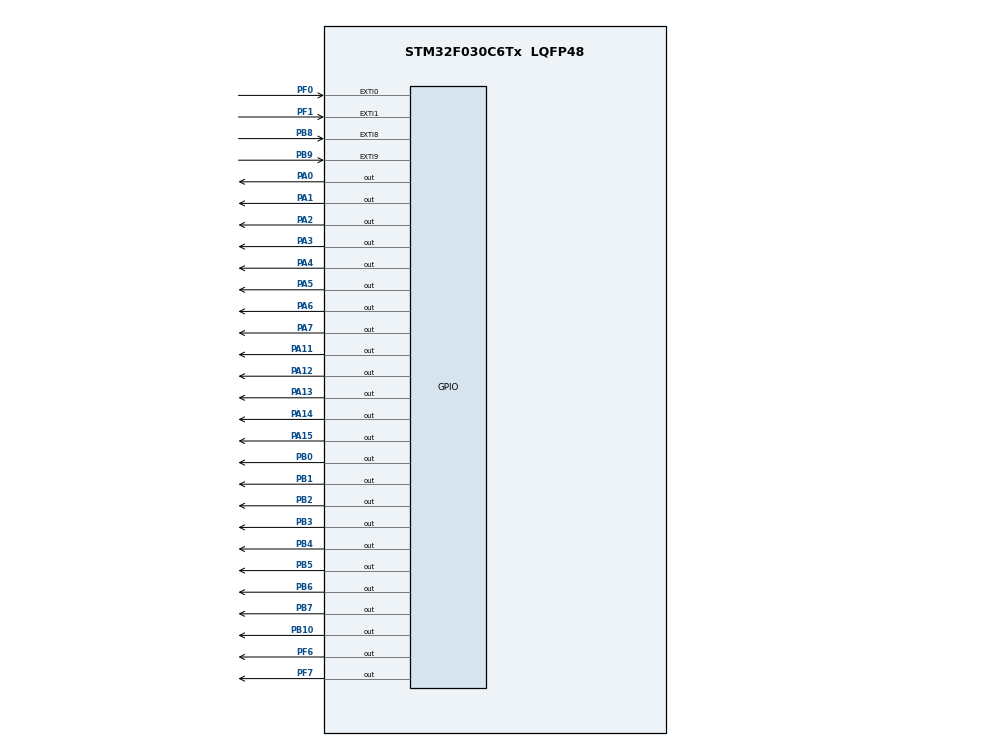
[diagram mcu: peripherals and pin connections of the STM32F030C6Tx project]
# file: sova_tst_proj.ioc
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Mcu.Family=STM32F0
Mcu.Name=STM32F030C6Tx
Mcu.Package=LQFP48
NVIC.EXTI0_1_IRQn=true\:0\:0\:false\:false\:true
NVIC.EXTI4_15_IRQn=true\:0\:0\:false\:false\:true
NVIC.TIM16_IRQn=true\:0\:0\:false\:false\:true
PA0.GPIO_ModeDefaultOutputPP=GPIO_MODE_OUTPUT_OD
PA0.GPIO_Speed=GPIO_SPEED_FREQ_LOW
PA0.PinState=GPIO_PIN_SET
PA0.Signal=GPIO_Output
PA1.GPIO_ModeDefaultOutputPP=GPIO_MODE_OUTPUT_OD
PA1.GPIO_Speed=GPIO_SPEED_FREQ_LOW
PA1.PinState=GPIO_PIN_SET
PA1.Signal=GPIO_Output
PA11.GPIO_ModeDefaultOutputPP=GPIO_MODE_OUTPUT_OD
PA11.GPIO_Speed=GPIO_SPEED_FREQ_LOW
PA11.PinState=GPIO_PIN_SET
PA11.Signal=GPIO_Output
PA12.GPIO_ModeDefaultOutputPP=GPIO_MODE_OUTPUT_OD
PA12.GPIO_Speed=GPIO_SPEED_FREQ_LOW
PA12.PinState=GPIO_PIN_SET
PA12.Signal=GPIO_Output
PA13.GPIO_ModeDefaultOutputPP=GPIO_MODE_OUTPUT_OD
PA13.GPIO_Speed=GPIO_SPEED_FREQ_LOW
PA13.PinState=GPIO_PIN_SET
PA13.Signal=GPIO_Output
PA14.GPIO_ModeDefaultOutputPP=GPIO_MODE_OUTPUT_OD
PA14.GPIO_Speed=GPIO_SPEED_FREQ_LOW
PA14.PinState=GPIO_PIN_SET
PA14.Signal=GPIO_Output
PA15.GPIO_ModeDefaultOutputPP=GPIO_MODE_OUTPUT_OD
PA15.GPIO_Speed=GPIO_SPEED_FREQ_LOW
PA15.PinState=GPIO_PIN_SET
PA15.Signal=GPIO_Output
PA2.GPIO_ModeDefaultOutputPP=GPIO_MODE_OUTPUT_OD
PA2.GPIO_Speed=GPIO_SPEED_FREQ_LOW
PA2.PinState=GPIO_PIN_SET
PA2.Signal=GPIO_Output
PA3.GPIO_ModeDefaultOutputPP=GPIO_MODE_OUTPUT_OD
PA3.GPIO_Speed=GPIO_SPEED_FREQ_LOW
PA3.PinState=GPIO_PIN_SET
PA3.Signal=GPIO_Output
PA4.GPIO_ModeDefaultOutputPP=GPIO_MODE_OUTPUT_OD
PA4.GPIO_Speed=GPIO_SPEED_FREQ_LOW
PA4.PinState=GPIO_PIN_SET
PA4.Signal=GPIO_Output
PA5.GPIO_ModeDefaultOutputPP=GPIO_MODE_OUTPUT_OD
PA5.GPIO_Speed=GPIO_SPEED_FREQ_LOW
PA5.PinState=GPIO_PIN_SET
PA5.Signal=GPIO_Output
PA6.GPIO_ModeDefaultOutputPP=GPIO_MODE_OUTPUT_OD
PA6.GPIO_Speed=GPIO_SPEED_FREQ_LOW
PA6.PinState=GPIO_PIN_SET
PA6.Signal=GPIO_Output
PA7.GPIO_ModeDefaultOutputPP=GPIO_MODE_OUTPUT_OD
PA7.GPIO_Speed=GPIO_SPEED_FREQ_LOW
PA7.PinState=GPIO_PIN_SET
PA7.Signal=GPIO_Output
PB0.GPIO_ModeDefaultOutputPP=GPIO_MODE_OUTPUT_OD
PB0.GPIO_Speed=GPIO_SPEED_FREQ_LOW
PB0.PinState=GPIO_PIN_SET
PB0.Signal=GPIO_Output
PB1.GPIO_ModeDefaultOutputPP=GPIO_MODE_OUTPUT_OD
PB1.GPIO_Speed=GPIO_SPEED_FREQ_LOW
PB1.PinState=GPIO_PIN_SET
PB1.Signal=GPIO_Output
PB10.GPIO_ModeDefaultOutputPP=GPIO_MODE_OUTPUT_OD
PB10.GPIO_Speed=GPIO_SPEED_FREQ_LOW
PB10.PinState=GPIO_PIN_SET
PB10.Signal=GPIO_Output
PB2.GPIO_ModeDefaultOutputPP=GPIO_MODE_OUTPUT_OD
PB2.GPIO_Speed=GPIO_SPEED_FREQ_LOW
PB2.PinState=GPIO_PIN_SET
PB2.Signal=GPIO_Output
PB3.GPIO_ModeDefaultOutputPP=GPIO_MODE_OUTPUT_OD
PB3.GPIO_Speed=GPIO_SPEED_FREQ_LOW
PB3.PinState=GPIO_PIN_SET
PB3.Signal=GPIO_Output
PB4.GPIO_ModeDefaultOutputPP=GPIO_MODE_OUTPUT_OD
PB4.GPIO_Speed=GPIO_SPEED_FREQ_LOW
PB4.PinState=GPIO_PIN_SET
PB4.Signal=GPIO_Output
PB5.GPIO_ModeDefaultOutputPP=GPIO_MODE_OUTPUT_OD
PB5.GPIO_Speed=GPIO_SPEED_FREQ_LOW
PB5.PinState=GPIO_PIN_SET
PB5.Signal=GPIO_Output
PB6.GPIO_ModeDefaultOutputPP=GPIO_MODE_OUTPUT_OD
PB6.GPIO_Speed=GPIO_SPEED_FREQ_LOW
PB6.PinState=GPIO_PIN_SET
PB6.Signal=GPIO_Output
PB7.GPIO_ModeDefaultOutputPP=GPIO_MODE_OUTPUT_OD
PB7.GPIO_Speed=GPIO_SPEED_FREQ_LOW
PB7.PinState=GPIO_PIN_SET
PB7.Signal=GPIO_Output
PB8.GPIO_ModeDefaultEXTI=GPIO_MODE_IT_FALLING
PB8.GPIO_PuPd=GPIO_PULLUP
PB8.Signal=GPXTI8
PB9.GPIO_ModeDefaultEXTI=GPIO_MODE_IT_FALLING
PB9.GPIO_PuPd=GPIO_PULLUP
PB9.Signal=GPXTI9
PC14-OSC32_IN.Mode=LSE-External-Oscillator
PC14-OSC32_IN.Signal=RCC_OSC32_IN
PC15-OSC32_OUT.Mode=LSE-External-Oscillator
PC15-OSC32_OUT.Signal=RCC_OSC32_OUT
PF0-OSC_IN.GPIO_ModeDefaultEXTI=GPIO_MODE_IT_FALLING
PF0-OSC_IN.GPIO_PuPd=GPIO_PULLUP
PF0-OSC_IN.Signal=GPXTI0
PF1-OSC_OUT.GPIO_ModeDefaultEXTI=GPIO_MODE_IT_FALLING
PF1-OSC_OUT.GPIO_PuPd=GPIO_PULLUP
PF1-OSC_OUT.Signal=GPXTI1
PF6.GPIO_ModeDefaultOutputPP=GPIO_MODE_OUTPUT_OD
PF6.GPIO_Speed=GPIO_SPEED_FREQ_LOW
PF6.PinState=GPIO_PIN_SET
PF6.Signal=GPIO_Output
PF7.GPIO_ModeDefaultOutputPP=GPIO_MODE_OUTPUT_OD
PF7.GPIO_Speed=GPIO_SPEED_FREQ_LOW
PF7.PinState=GPIO_PIN_SET
PF7.Signal=GPIO_Output
ProjectManager.HeapSize=0x200
ProjectManager.StackSize=0x400
ProjectManager.TargetToolchain=EWARM
RCC.RTCClockSelection=RCC_RTCCLKSOURCE_LSE
TIM16.Period=200
TIM16.Prescaler=10
VP_RTC_VS_RTC_Alarm_A_Intern.Mode=Alarm A
VP_TIM16_VS_ClockSourceINT.Mode=Enable_Timer
board=sova_tst_proj

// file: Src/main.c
/**
  ******************************************************************************
  * File Name          : main.c
  * Description        : Main program body
  ******************************************************************************
  *
  * COPYRIGHT(c) 2016 STMicroelectronics
  *
  * Redistribution and use in source and binary forms, with or without modification,
  * are permitted provided that the following conditions are met:
  *   1. Redistributions of source code must retain the above copyright notice,
  *      this list of conditions and the following disclaimer.
  *   2. Redistributions in binary form must reproduce the above copyright notice,
  *      this list of conditions and the following disclaimer in the documentation
  *      and/or other materials provided with the distribution.
  *   3. Neither the name of STMicroelectronics nor the names of its contributors
  *      may be used to endorse or promote products derived from this software
  *      without specific prior written permission.
  *
  * THIS SOFTWARE IS PROVIDED BY THE COPYRIGHT HOLDERS AND CONTRIBUTORS "AS IS"
  * AND ANY EXPRESS OR IMPLIED WARRANTIES, INCLUDING, BUT NOT LIMITED TO, THE
  * IMPLIED WARRANTIES OF MERCHANTABILITY AND FITNESS FOR A PARTICULAR PURPOSE ARE
  * DISCLAIMED. IN NO EVENT SHALL THE COPYRIGHT HOLDER OR CONTRIBUTORS BE LIABLE
  * FOR ANY DIRECT, INDIRECT, INCIDENTAL, SPECIAL, EXEMPLARY, OR CONSEQUENTIAL
  * DAMAGES (INCLUDING, BUT NOT LIMITED TO, PROCUREMENT OF SUBSTITUTE GOODS OR
  * SERVICES; LOSS OF USE, DATA, OR PROFITS; OR BUSINESS INTERRUPTION) HOWEVER
  * CAUSED AND ON ANY THEORY OF LIABILITY, WHETHER IN CONTRACT, STRICT LIABILITY,
  * OR TORT (INCLUDING NEGLIGENCE OR OTHERWISE) ARISING IN ANY WAY OUT OF THE USE
  * OF THIS SOFTWARE, EVEN IF ADVISED OF THE POSSIBILITY OF SUCH DAMAGE.
  *
  ******************************************************************************
  */
#include "stm32f0xx_hal.h"
#include "rtc.h"
#include "tim.h"
#include "gpio.h"

/* USER CODE BEGIN PV */
/* Private variables ---------------------------------------------------------*/
GPIO_TypeDef *hour_ports[12] = {
  GPIOA,
  GPIOA,
  GPIOA,
  GPIOA,
  GPIOA,
  GPIOA,
  GPIOA,
  GPIOA,
  GPIOB,
  GPIOB,
  GPIOB,
  GPIOB
};

uint16_t hour_pins[12] = {
  GPIO_PIN_0,
  GPIO_PIN_1,
  GPIO_PIN_2,
  GPIO_PIN_3,
  GPIO_PIN_4,
  GPIO_PIN_5,
  GPIO_PIN_6,
  GPIO_PIN_7,
  GPIO_PIN_0,
  GPIO_PIN_1,
  GPIO_PIN_2,
  GPIO_PIN_10
};

GPIO_TypeDef *minute_ports[12] = {
  GPIOB,
  GPIOA,
  GPIOA,
  GPIOA,
  GPIOF,
  GPIOF,
  GPIOA,
  GPIOA,
  GPIOB,
  GPIOB,
  GPIOB,
  GPIOB
};

uint16_t minute_pins[12] = {
  GPIO_PIN_7,
  GPIO_PIN_11,
  GPIO_PIN_12,
  GPIO_PIN_13,
  GPIO_PIN_6,
  GPIO_PIN_7,
  GPIO_PIN_14,
  GPIO_PIN_15,
  GPIO_PIN_3,
  GPIO_PIN_4,
  GPIO_PIN_5,
  GPIO_PIN_6
};

typedef struct
{
  uint8_t Hours;
  uint8_t Minutes;
}CircleTypeDef;

CircleTypeDef Circle;
/* USER CODE END PV */

void SystemClock_Config(void);
void Error_Handler(void);

/* USER CODE BEGIN PFP */
/* Private function prototypes -----------------------------------------------*/
#define BUTTON_DEBOUNCE 150
uint32_t ButtonDebounce;

void HAL_GPIO_EXTI_Callback(uint16_t GPIO_Pin){
  if ((HAL_GetTick() - ButtonDebounce) > BUTTON_DEBOUNCE){
	RTC_TimeTypeDef Time;
	RTC_DateTypeDef Date;
	HAL_RTC_GetTime(&hrtc, &Time, RTC_FORMAT_BIN);
	HAL_RTC_GetDate(&hrtc, &Date, RTC_FORMAT_BIN);
	switch (GPIO_Pin){
	case GPIO_PIN_9:
	  Time.Minutes = (Time.Minutes == 0) ? 59 : Time.Minutes - 1;
	  HAL_RTC_SetTime(&hrtc, &Time, RTC_FORMAT_BIN);
	  HAL_RTC_SetDate(&hrtc, &Date, RTC_FORMAT_BIN);
	  break;
	case GPIO_PIN_8:
	  Time.Minutes = (Time.Minutes == 59) ? 0 : Time.Minutes + 1;
	  HAL_RTC_SetTime(&hrtc, &Time, RTC_FORMAT_BIN);
	  HAL_RTC_SetDate(&hrtc, &Date, RTC_FORMAT_BIN);
	  break;
	case GPIO_PIN_1:
	  Time.Hours = (Time.Hours == 0) ? 11 : Time.Hours - 1;
	  HAL_RTC_SetTime(&hrtc, &Time, RTC_FORMAT_BIN);
	  HAL_RTC_SetDate(&hrtc, &Date, RTC_FORMAT_BIN);
	  break;
	case GPIO_PIN_0:
	  Time.Hours = (Time.Hours == 11) ? 0 : Time.Hours + 1;
	  HAL_RTC_SetTime(&hrtc, &Time, RTC_FORMAT_BIN);
	  HAL_RTC_SetDate(&hrtc, &Date, RTC_FORMAT_BIN);
	  break;
	}
  }
  ButtonDebounce = HAL_GetTick();
}
/* USER CODE END PFP */

/* USER CODE BEGIN 0 */
#define PWM_LIMIT 5
uint8_t pwm_counter = 0;

void HAL_TIM_PeriodElapsedCallback(TIM_HandleTypeDef *htim){
  if (htim == &htim16){
	RTC_TimeTypeDef Time;
	RTC_DateTypeDef Date;

	HAL_RTC_GetTime(&hrtc, &Time, RTC_FORMAT_BIN);
	HAL_RTC_GetDate(&hrtc, &Date, RTC_FORMAT_BIN);

	pwm_counter = (pwm_counter >= (PWM_LIMIT-1)) ? 0 : pwm_counter + 1;

	if (Circle.Minutes != Time.Minutes/5){
	  HAL_GPIO_WritePin(minute_ports[(Circle.Minutes)], minute_pins[(Circle.Minutes)], GPIO_PIN_SET);
	  Circle.Minutes = Time.Minutes/5;
	}

	if (pwm_counter >= Time.Minutes%5)
	  HAL_GPIO_WritePin(minute_ports[(Circle.Minutes)], minute_pins[(Circle.Minutes)], GPIO_PIN_RESET);
	else
	  HAL_GPIO_WritePin(minute_ports[(Circle.Minutes)], minute_pins[(Circle.Minutes)], GPIO_PIN_SET);

	if (pwm_counter >= (5 - Time.Minutes%5))
	  HAL_GPIO_WritePin(minute_ports[(Circle.Minutes + 1)], minute_pins[(Circle.Minutes + 1)], GPIO_PIN_RESET);
	else
	  HAL_GPIO_WritePin(minute_ports[(Circle.Minutes + 1)], minute_pins[(Circle.Minutes + 1)], GPIO_PIN_SET);
  }
}
/* USER CODE END 0 */

int main(void)
{

  /* USER CODE BEGIN 1 */
	RTC_TimeTypeDef Time;
	RTC_DateTypeDef Date;

  /* USER CODE END 1 */

  /* MCU Configuration----------------------------------------------------------*/

  /* Reset of all peripherals, Initializes the Flash interface and the Systick. */
  HAL_Init();

  /* Configure the system clock */
  SystemClock_Config();

  /* Initialize all configured peripherals */
  MX_GPIO_Init();
  MX_RTC_Init();
  MX_TIM16_Init();

  /* USER CODE BEGIN 2 */
  HAL_RTC_GetTime(&hrtc, &Time, RTC_FORMAT_BIN);
  HAL_RTC_GetDate(&hrtc, &Date, RTC_FORMAT_BIN);
  Circle.Hours = Time.Hours;
  Circle.Minutes = Time.Minutes/5;
  HAL_GPIO_WritePin(hour_ports[(Circle.Hours)], hour_pins[(Circle.Hours)],  GPIO_PIN_RESET);
  HAL_GPIO_WritePin(minute_ports[(Circle.Minutes)], minute_pins[(Circle.Minutes)],  GPIO_PIN_RESET);

  HAL_TIM_Base_Start_IT(&htim16);
  /* USER CODE END 2 */

  /* Infinite loop */
  while (1)
  {

  /* USER CODE BEGIN 3 */
    HAL_RTC_GetTime(&hrtc, &Time, RTC_FORMAT_BIN);
    HAL_RTC_GetDate(&hrtc, &Date, RTC_FORMAT_BIN);
    if (Circle.Hours != Time.Hours){
      HAL_GPIO_WritePin(hour_ports[(Circle.Hours)], hour_pins[(Circle.Hours)],	GPIO_PIN_SET);
      Circle.Hours = Time.Hours;
      HAL_GPIO_WritePin(hour_ports[(Circle.Hours)], hour_pins[(Circle.Hours)], 	GPIO_PIN_RESET);
    }
  }
  /* USER CODE END 3 */

}

/** System Clock Configuration
*/
void SystemClock_Config(void)
{

  RCC_OscInitTypeDef RCC_OscInitStruct;
  RCC_ClkInitTypeDef RCC_ClkInitStruct;
  RCC_PeriphCLKInitTypeDef PeriphClkInit;

  RCC_OscInitStruct.OscillatorType = RCC_OSCILLATORTYPE_HSI|RCC_OSCILLATORTYPE_LSE;
  RCC_OscInitStruct.LSEState = RCC_LSE_ON;
  RCC_OscInitStruct.HSIState = RCC_HSI_ON;
  RCC_OscInitStruct.HSICalibrationValue = 16;
  RCC_OscInitStruct.PLL.PLLState = RCC_PLL_NONE;
  if (HAL_RCC_OscConfig(&RCC_OscInitStruct) != HAL_OK)
  {
    Error_Handler();
  }

  RCC_ClkInitStruct.ClockType = RCC_CLOCKTYPE_HCLK|RCC_CLOCKTYPE_SYSCLK
                              |RCC_CLOCKTYPE_PCLK1;
  RCC_ClkInitStruct.SYSCLKSource = RCC_SYSCLKSOURCE_HSI;
  RCC_ClkInitStruct.AHBCLKDivider = RCC_SYSCLK_DIV1;
  RCC_ClkInitStruct.APB1CLKDivider = RCC_HCLK_DIV1;
  if (HAL_RCC_ClockConfig(&RCC_ClkInitStruct, FLASH_LATENCY_0) != HAL_OK)
  {
    Error_Handler();
  }

  PeriphClkInit.PeriphClockSelection = RCC_PERIPHCLK_RTC;
  PeriphClkInit.RTCClockSelection = RCC_RTCCLKSOURCE_LSE;
  if (HAL_RCCEx_PeriphCLKConfig(&PeriphClkInit) != HAL_OK)
  {
    Error_Handler();
  }

  HAL_SYSTICK_Config(HAL_RCC_GetHCLKFreq()/1000);

  HAL_SYSTICK_CLKSourceConfig(SYSTICK_CLKSOURCE_HCLK);

  /* SysTick_IRQn interrupt configuration */
  HAL_NVIC_SetPriority(SysTick_IRQn, 0, 0);
}

void Error_Handler(void)
{
  while(1)
  {
  }
}

/************************ (C) COPYRIGHT STMicroelectronics *****END OF FILE****/
